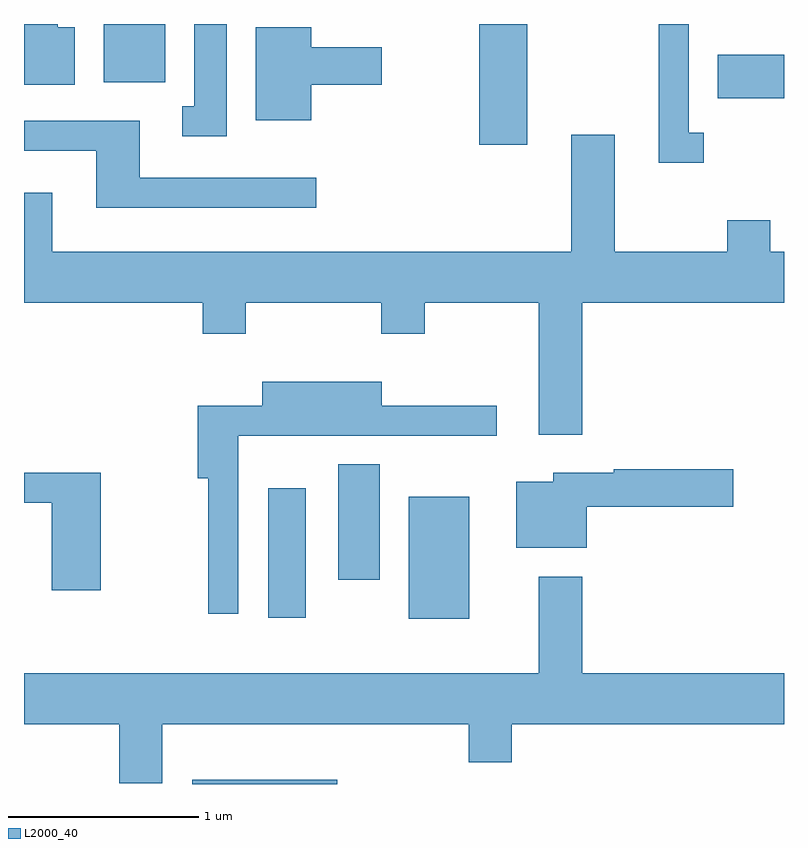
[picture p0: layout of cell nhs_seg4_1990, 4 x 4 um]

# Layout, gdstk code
import gdstk
lib = gdstk.Library(unit=1e-6, precision=1e-09)
def R(c, l, rs):  # rectangles x0, y0, x1, y1
    for r in rs: c.add(gdstk.rectangle(r[:2], r[2:], *l))
def P(c, l, *ps):  # polygons
    for p in ps: c.add(gdstk.Polygon(p, *l))
L2000_40 = (2000, 40)

nhs_seg4_1990 = lib.new_cell('nhs_seg4_1990')
R(nhs_seg4_1990, L2000_40, [(244.496,1289.982,245.259,1290.004), (245.636,1290.851,245.954,1291.494), (244.896,1290.856,245.094,1291.539), (245.266,1291.056,245.484,1291.664), (246.006,1293.346,246.259,1293.982), (247.261,1293.591,247.611,1293.819), (244.031,1293.676,244.354,1293.982)])
P(nhs_seg4_1990, L2000_40, [(247.188,1293.409),(247.109,1293.409),(247.109,1293.982),(246.951,1293.982),(246.951,1293.251),(247.188,1293.251)],
  [(243.879,1293.964),(243.789,1293.964),(243.789,1293.982),(243.611,1293.982),(243.611,1293.661),(243.879,1293.661)],
  [(244.679,1293.982),(244.506,1293.982),(244.506,1293.549),(244.443,1293.549),(244.443,1293.391),(244.679,1293.391)],
  [(245.124,1293.661),(245.494,1293.661),(245.494,1293.859),(245.124,1293.859),(245.124,1293.964),(244.831,1293.964),(244.831,1293.476),(245.124,1293.476)],
  [(245.148,1293.174),(244.219,1293.174),(244.219,1293.474),(243.611,1293.474),(243.611,1293.316),(243.991,1293.316),(243.991,1293.016),(245.148,1293.016)],
  [(247.311,1292.949),(247.311,1292.784),(246.719,1292.784),(246.719,1293.399),(246.491,1293.399),(246.491,1292.784),(243.759,1292.784),(243.759,1293.094),(243.611,1293.094),(243.611,1292.516),(244.551,1292.516),(244.551,1292.351),(244.779,1292.351),(244.779,1292.516),(245.491,1292.516),(245.491,1292.351),(245.719,1292.351),(245.719,1292.516),(246.321,1292.516),(246.321,1291.821),(246.549,1291.821),(246.549,1292.516),(247.611,1292.516),(247.611,1292.784),(247.539,1292.784),(247.539,1292.949)],
  [(244.739,1291.816),(246.098,1291.816),(246.098,1291.974),(245.494,1291.974),(245.494,1292.099),(244.866,1292.099),(244.866,1291.974),(244.526,1291.974),(244.526,1291.591),(244.581,1291.591),(244.581,1290.878),(244.739,1290.878)],
  [(246.574,1291.441),(247.344,1291.441),(247.344,1291.639),(246.716,1291.639),(246.716,1291.619),(246.396,1291.619),(246.396,1291.574),(246.201,1291.574),(246.201,1291.226),(246.574,1291.226)],
  [(244.014,1291.619),(243.611,1291.619),(243.611,1291.461),(243.756,1291.461),(243.756,1291.001),(244.014,1291.001)],
  [(244.339,1290.296),(245.951,1290.296),(245.951,1290.096),(246.179,1290.096),(246.179,1290.296),(247.611,1290.296),(247.611,1290.564),(246.549,1290.564),(246.549,1291.074),(246.321,1291.074),(246.321,1290.564),(243.611,1290.564),(243.611,1290.296),(244.111,1290.296),(244.111,1289.986),(244.339,1289.986)])

lib.write_gds('nhs_seg4_1990.gds')
